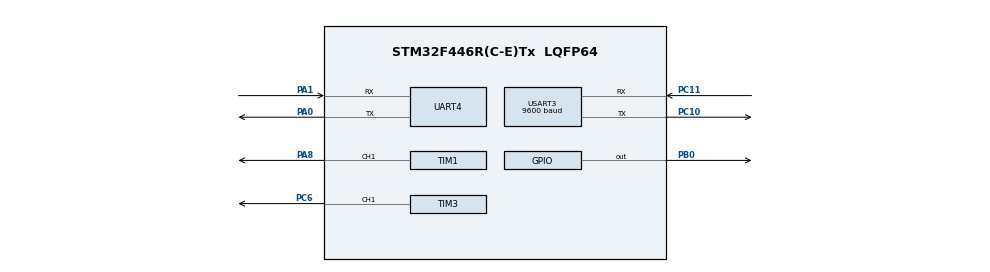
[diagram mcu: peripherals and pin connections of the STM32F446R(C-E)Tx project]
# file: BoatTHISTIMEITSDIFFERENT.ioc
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Mcu.Family=STM32F4
Mcu.Name=STM32F446R(C-E)Tx
Mcu.Package=LQFP64
NVIC.PriorityGroup=NVIC_PRIORITYGROUP_4
NVIC.UART4_IRQn=true\:0\:0\:false\:false\:true\:true\:true\:true
PA0-WKUP.Mode=Asynchronous
PA0-WKUP.Signal=UART4_TX
PA1.Mode=Asynchronous
PA1.Signal=UART4_RX
PA13.Mode=JTAG_4_pins
PA13.Signal=SYS_JTMS-SWDIO
PA14.Mode=JTAG_4_pins
PA14.Signal=SYS_JTCK-SWCLK
PA15.Mode=JTAG_4_pins
PA15.Signal=SYS_JTDI
PA8.Signal=S_TIM1_CH1
PB0.Signal=GPIO_Output
PB3.Mode=JTAG_4_pins
PB3.Signal=SYS_JTDO-SWO
PC10.Mode=Asynchronous
PC10.Signal=USART3_TX
PC11.Mode=Asynchronous
PC11.Signal=USART3_RX
PC6.Signal=S_TIM3_CH1
ProjectManager.HeapSize=0x400
ProjectManager.StackSize=0x800
ProjectManager.TargetToolchain=STM32CubeIDE
RCC.CortexFreq_Value=16000000
RCC.USBFreq_Value=96000000
RCC.VCOOutputFreq_Value=192000000
SH.S_TIM1_CH1.0=TIM1_CH1,PWM Generation1 CH1
SH.S_TIM3_CH1.0=TIM3_CH1,PWM Generation1 CH1
TIM1.AutoReloadPreload=TIM_AUTORELOAD_PRELOAD_ENABLE
TIM1.Channel-PWM\ Generation1\ CH1=TIM_CHANNEL_1
TIM1.Period=19999
TIM1.Prescaler=15
TIM1.Pulse-PWM\ Generation1\ CH1=1500
TIM3.AutoReloadPreload=TIM_AUTORELOAD_PRELOAD_ENABLE
TIM3.Channel-PWM\ Generation1\ CH1=TIM_CHANNEL_1
TIM3.Period=19999
TIM3.Prescaler=15
TIM3.Pulse-PWM\ Generation1\ CH1=1500
UART4.VirtualMode=Asynchronous
USART3.BaudRate=9600
USART3.VirtualMode=VM_ASYNC
board=custom

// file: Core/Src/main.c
/* USER CODE BEGIN Header */
/**
  ******************************************************************************
  * @file           : main.c
  * @brief          : Main program body (Boat board – STM32F446RET: LoRa + GPS)
  ******************************************************************************
  * Peripherals (actual, based on testing):
  *   TIM1_CH1 (PA8)      -> Rudder servo PWM
  *   TIM3_CH1 (PC6)      -> Motor / Fans PWM
  *   PB0                 -> Debug LED / probe
  *
  *   UART4  (PA0 TX,  PA1 RX)   -> LoRa  @115200 (RYLR module)
  *   USART3(PC10 TX, PC11 RX)   -> GPS / DEBUG @9600
  *
  * BOARD WIRING NOTE (V1 as fabricated, verified from the v5 fab Gerbers +
  * pstxnet.dat, 2026-09-16 - see docs/V1_DESIGN_REVIEW.md, docs/img/v1_evidence_pwm.png):
  *   PA8 / TIM1_CH1 is routed to header refdes SPEEDCONTROLLER pin 2
  *   PC6 / TIM3_CH1 is routed to header refdes STEERINGSERVO  pin 2
  *   i.e. the copper is the mirror of the names used in this file: with this
  *   firmware the ESC must be plugged into the header STEERINGSERVO and the
  *   rudder servo into the header SPEEDCONTROLLER.  Do not "fix" the
  *   firmware without also re-labelling the harness; V2 renames the nets by MCU
  *   pin (PWM_PA8_ESCHDR / PWM_PC6_SERVOHDR).
  *   PB0 is wired to GPSMODULE pin 3 and is held LOW by this firmware.
  *   Other board facts that matter here: no HSE/LSE crystal (HSI only), VBAT and
  *   BOOT0 pins are unconnected, CAN transceiver RXD is on PA10 (no CAN AF).
  *
  * Behavior:
  *   - PWM:
  *       Motor:  TIM3_CH1 / PC6, 50 Hz, 1000–2000 µs
  *       Rudder: TIM1_CH1 / PA8, 50 Hz, 1100–1900 µs (center ~1500)
  *
  *   - LoRa:
  *       AT startup:
  *         ATE0
  *         AT+ADDRESS=1        (BOAT)
  *         AT+NETWORKID=18
  *         AT+BAND=915000000
  *         AT+PARAMETER=12,7,1,4
  *
  *       Incoming lines (from +RCV=...):
  *         THRUST,<0–100>
  *         RUDDER,<0–100>   (0=left, 50=center, 100=right)
  *         GPS,<lat>,<lon>  (from other node, just printed)
  *
  *   - GPS:
  *       Parse $GPRMC / $GNRMC to gps_lat/gps_lon/gps_valid.
  *       Every 5s (if valid): send "GPS,<lat>,<lon>" via LoRa AT+SEND
  *       to RC node address 2.
  ******************************************************************************
  */
/* USER CODE END Header */

#include "main.h"

/* USER CODE BEGIN Includes */
#include <string.h>
#include <stdio.h>
#include <stdlib.h>
/* USER CODE END Includes */

/* USER CODE BEGIN PD */

/* GPS / LoRa line buffers */
#define GPS_BUF_LEN    128
#define LORA_BUF_LEN   128

/* LoRa addressing – must match RC firmware */
#define LORA_ADDR_RC    2   /* Remote: RC handset (L072) */
#define LORA_ADDR_BOAT  1   /* This boat node (F446) */
#define LORA_NET_ID    18
#define LORA_FREQ      915000000UL
#define LORA_PARAM_STR "12,7,1,4"

/* Motor PWM (PC6 – TIM3_CH1) */
#define PWM_MOTOR_MIN_US     1000U   /* ESC min / idle */
#define PWM_MOTOR_MAX_US     2000U
#define PWM_MOTOR_IDLE_US    PWM_MOTOR_MIN_US

/* Rudder PWM (PA8 – TIM1_CH1) */
#define PWM_RUDDER_CENTER_US 1500U
#define PWM_RUDDER_LEFT_US   1100U   /* tune if needed */
#define PWM_RUDDER_RIGHT_US  1900U

/* USER CODE END PD */

TIM_HandleTypeDef htim1;
TIM_HandleTypeDef htim3;

UART_HandleTypeDef huart4;   // LoRa
UART_HandleTypeDef huart3;   // GPS / debug

/* USER CODE BEGIN PV */

/* GPS RX state */
static uint8_t gps_rx_byte;
static char    gps_buf[GPS_BUF_LEN];
static volatile size_t gps_len   = 0;
static volatile uint8_t gps_ready = 0;

/* LoRa RX state */
static uint8_t lora_rx_byte;
static char    lora_buf[LORA_BUF_LEN];
static volatile size_t lora_len   = 0;
static volatile uint8_t lora_ready = 0;

/* Parsed GPS data */
float   gps_lat   = 0.0f;
float   gps_lon   = 0.0f;
uint8_t gps_valid = 0;

/* Last time we sent GPS over LoRa */
uint32_t last_lora_tx = 0;

/* Motor / rudder logical values */
uint8_t thrust_value = 0;   // 0..100 (0 = stop, 100 = full)
uint8_t rudder_value = 50;  // 0..100 (0=left, 50=center, 100=right)

/* USER CODE END PV */

void SystemClock_Config(void);
static void MX_GPIO_Init(void);
static void MX_UART4_Init(void);
static void MX_USART3_UART_Init(void);
static void MX_TIM1_Init(void);
static void MX_TIM3_Init(void);
/* USER CODE BEGIN PFP */
/* Debug helper */
static void dbg(const char *s);

/* High-level helpers */
static void set_thrust(uint8_t value);
static void set_rudder(uint8_t value);

/* UART IT helpers */
static void StartGPSRxIT(void);
static void StartLoRaRxIT(void);

/* LoRa helpers */
static void lora_send_line(const char* s);
static void lora_send_payload(const char* payload);
static void parse_lora_line(char* s);

/* GPS helpers */
static int  gps_ddmm_to_deg(const char* val, const char* hemi, float* out);
static int  gps_validate_checksum(const char* s);
static void gps_parse_rmc(char* line);
static void gps_task(void);
/* USER CODE END PFP */

/* USER CODE BEGIN 0 */

static void dbg(const char *s)
{
  if (!s) return;
  /* Use finite timeout so a broken UART doesn't hard-lock */
  HAL_UART_Transmit(&huart3, (uint8_t*)s, strlen(s), 100);
}

/* Start interrupt receive for both UARTs */
static void StartGPSRxIT(void)
{
  HAL_UART_Receive_IT(&huart3, &gps_rx_byte, 1);
}

static void StartLoRaRxIT(void)
{
  HAL_UART_Receive_IT(&huart4, &lora_rx_byte, 1);
}

/* Simple AT line sender (adds \r\n) */
static void lora_send_line(const char* s)
{
  if (!s) return;

  /* Finite timeouts here too */
  HAL_UART_Transmit(&huart4, (uint8_t*)s, strlen(s), 100);
  uint8_t crlf[2] = { '\r', '\n' };
  HAL_UART_Transmit(&huart4, crlf, 2, 100);
}

/* AT+SEND payload helper:
 *  - Boat node address  = LORA_ADDR_BOAT (1)
 *  - RC handset address = LORA_ADDR_RC   (2)
 *  We send GPS/etc *to the RC*, so destination = LORA_ADDR_RC.
 */
static void lora_send_payload(const char* payload)
{
  if (!payload) return;
  char cmd[128];
  snprintf(cmd, sizeof(cmd),
           "AT+SEND=%d,%u,%s",
           LORA_ADDR_RC,           /* send TO RC (2) */
           (unsigned)strlen(payload),
           payload);
  lora_send_line(cmd);
}

/* Convert ddmm.mmmm -> decimal degrees */
static int gps_ddmm_to_deg(const char* val, const char* hemi, float* out)
{
  if (!val || !*val || !out) return 0;
  double v       = atof(val);
  int    deg     = (int)(v / 100);
  double minutes = v - (deg * 100.0);
  double result  = deg + minutes / 60.0;
  if (hemi && (*hemi == 'S' || *hemi == 'W')) result = -result;
  *out = (float)result;
  return 1;
}

/* Validate NMEA checksum */
static int gps_validate_checksum(const char* s)
{
  if (!s || s[0] != '$') return 0;
  const char* star = strrchr(s, '*');
  if (!star) return 0;

  uint8_t chk = 0;
  for (const char* p = s + 1; p < star; p++)
  {
    chk ^= (uint8_t)(*p);
  }
  uint8_t given = (uint8_t)strtol(star + 1, NULL, 16);
  return (chk == given);
}

/* Parse an RMC line (in-place strtok) */
static void gps_parse_rmc(char* line)
{
  if (!gps_validate_checksum(line)) return;

  char* toks[16];
  int   n = 0;

  for (char* tok = strtok(line, ","); tok && n < 16; tok = strtok(NULL, ","))
  {
    toks[n++] = tok;
  }
  if (n < 7) return;

  if (strncmp(toks[0], "$GPRMC", 6) != 0 &&
      strncmp(toks[0], "$GNRMC", 6) != 0)
  {
    return;
  }

  /* Status: A = active, V = void */
  if (toks[2][0] != 'A')
  {
    gps_valid = 0;
    return;
  }

  float lat, lon;
  if (!gps_ddmm_to_deg(toks[3], toks[4], &lat)) return;
  if (!gps_ddmm_to_deg(toks[5], toks[6], &lon)) return;

  gps_lat   = lat;
  gps_lon   = lon;
  gps_valid = 1;
}

/* GPS processing task (call from main loop) */
static void gps_task(void)
{
  if (!gps_ready) return;
  gps_ready = 0;

  char buf[GPS_BUF_LEN];
  strncpy(buf, gps_buf, sizeof(buf));
  buf[GPS_BUF_LEN - 1] = '\0';

  if (strncmp(buf, "$GPRMC", 6) == 0 || strncmp(buf, "$GNRMC", 6) == 0)
  {
    gps_parse_rmc(buf);
  }
}

/* Parse one LoRa line from RYLR ("+RCV=...") */
static void parse_lora_line(char* s)
{
  if (!s) return;

  /* Skip leading CR/LF/spaces so "\r+RCV=..." still matches */
  while (*s == '\r' || *s == '\n' || *s == ' ' || *s == '\t')
  {
    s++;
  }

  if (*s == '\0') return;

  /* Expect lines like:
   *   +RCV=1,10,THRUST,50,-50,12
   *   +RCV=1,10,RUDDER,30,-70,11
   */
  if (strncmp(s, "+RCV=", 5) != 0 && strncmp(s, "RCV=", 4) != 0)
  {
    return;
  }

  /* Skip header up to second comma, then data starts */
  char* p = s;
  int   comma_count = 0;
  while (*p && comma_count < 2)
  {
    if (*p == ',') comma_count++;
    p++;
  }
  if (comma_count < 2) return;  // malformed
  char* data = p;               // points at payload: "THRUST,50,..."

  /* Normalize: strip trailing \r or \n */
  char* end = data + strlen(data);
  while (end > data && (end[-1] == '\r' || end[-1] == '\n'))
  {
    *--end = '\0';
  }

  /* Commands:
   *  THRUST,<0-100>
   *  RUDDER,<0-100>
   *  GPS,<lat>,<lon>
   */

  if (strncmp(data, "THRUST,", 7) == 0)
  {
    int value;
    if (sscanf(data, "THRUST,%d", &value) == 1)
    {
      if (value < 0)   value = 0;
      if (value > 100) value = 100;
      thrust_value = (uint8_t)value;
      set_thrust(thrust_value);

      char dbg_buf[64];
      snprintf(dbg_buf, sizeof(dbg_buf), "LoRa: THRUST=%d\r\n", value);
      dbg(dbg_buf);
    }
  }
  else if (strncmp(data, "RUDDER,", 7) == 0)
  {
    int value;
    if (sscanf(data, "RUDDER,%d", &value) == 1)
    {
      if (value < 0)   value = 0;
      if (value > 100) value = 100;
      rudder_value = (uint8_t)value;
      set_rudder(rudder_value);

      char dbg_buf[64];
      snprintf(dbg_buf, sizeof(dbg_buf), "LoRa: RUDDER=%d\r\n", value);
      dbg(dbg_buf);
    }
  }
  else if (strncmp(data, "GPS,", 4) == 0)
  {
    float lat, lon;
    if (sscanf(data, "GPS,%f,%f", &lat, &lon) == 2)
    {
      char dbg_buf[80];
      snprintf(dbg_buf, sizeof(dbg_buf),
               "LoRa: GPS from RC: %.6f, %.6f\r\n", lat, lon);
      dbg(dbg_buf);
    }
  }
}

/* Set motor thrust (0..100) → TIM3_CH1 / PC6 */
static void set_thrust(uint8_t value)
{
  if (value > 100) value = 100;

  uint32_t range = (PWM_MOTOR_MAX_US - PWM_MOTOR_MIN_US); // 1000
  uint32_t pulse = PWM_MOTOR_MIN_US + (range * value) / 100U;

  __HAL_TIM_SET_COMPARE(&htim3, TIM_CHANNEL_1, pulse);
  thrust_value = value;
}

/* Set rudder (0..100) → TIM1_CH1 / PA8
 * 0   = fully left  (PWM_RUDDER_LEFT_US)
 * 50  = center      (PWM_RUDDER_CENTER_US)
 * 100 = fully right (PWM_RUDDER_RIGHT_US)
 */
static void set_rudder(uint8_t value)
{
  if (value > 100) value = 100;

  uint32_t range = (PWM_RUDDER_RIGHT_US - PWM_RUDDER_LEFT_US);
  uint32_t pulse = PWM_RUDDER_LEFT_US + (range * value) / 100U;

  __HAL_TIM_SET_COMPARE(&htim1, TIM_CHANNEL_1, pulse);
  rudder_value = value;
}

/* USER CODE END 0 */

int main(void)
{
  /* MCU Configuration--------------------------------------------------------*/

  /* Reset of all peripherals, Initializes the Flash interface and the Systick. */
  HAL_Init();   // sets up uwTick, SysTick, HAL_Delay, etc.

  /* Configure the system clock */
  SystemClock_Config();

  /* Initialize all configured peripherals */
  MX_GPIO_Init();
  MX_UART4_Init();
  MX_USART3_UART_Init();
  MX_TIM1_Init();
  MX_TIM3_Init();

  /* NVIC setup for UART interrupts (must match stm32f4xx_it.c IRQHandlers) */
  HAL_NVIC_SetPriority(UART4_IRQn, 5, 0);
  HAL_NVIC_EnableIRQ(UART4_IRQn);

  HAL_NVIC_SetPriority(USART3_IRQn, 5, 0);
  HAL_NVIC_EnableIRQ(USART3_IRQn);

  /* Start PWM on both channels */
  if (HAL_TIM_PWM_Start(&htim1, TIM_CHANNEL_1) != HAL_OK) { Error_Handler(); }
  if (HAL_TIM_PWM_Start(&htim3, TIM_CHANNEL_1) != HAL_OK) { Error_Handler(); }

  /* Safe startup: motor idle, rudder centered */
  set_thrust(0);
  set_rudder(50);

  /* Let ESC/servo/LoRa/GPS power up */
  HAL_Delay(1500);

  /* Start UART reception in interrupt mode */
  StartGPSRxIT();
  StartLoRaRxIT();

  /* Configure LoRa module via AT commands */
  lora_send_line("ATE0");                        // Echo off
  lora_send_line("AT+ADDRESS=1");                // This node address (boat)
  lora_send_line("AT+NETWORKID=18");             // Network ID
  lora_send_line("AT+BAND=915000000");           // 915 MHz
  lora_send_line("AT+PARAMETER=" LORA_PARAM_STR);// SF12, BW index 7 = 125 kHz (not 7.8 kHz), CR4/5, preamble 4. NOTE: an RYLR998 rejects SF12 (SF5-11 only) and keeps its stored settings; only the RYLR896 accepts SF12.

  dbg("Boat: LoRa init done\r\n");

  /* Infinite loop */
  while (1)
  {
    /* Handle GPS parsing */
    gps_task();

    /* Process any complete LoRa line */
    if (lora_ready)
    {
      lora_ready = 0;
      char buf_local[LORA_BUF_LEN];
      strncpy(buf_local, lora_buf, sizeof(buf_local));
      buf_local[LORA_BUF_LEN - 1] = '\0';

      dbg("LORA RX: ");
      dbg(buf_local);
      dbg("\r\n");

      parse_lora_line(buf_local);
    }

    uint32_t now = HAL_GetTick();

    /* Send *our* GPS over LoRa every 5 seconds if valid */
    if (gps_valid && (now - last_lora_tx >= 5000U))
    {
      char payload[64];
      snprintf(payload, sizeof(payload), "GPS,%.6f,%.6f", gps_lat, gps_lon);
      lora_send_payload(payload);
      last_lora_tx = now;
    }

    HAL_Delay(10);
  }
}

void SystemClock_Config(void)
{
  RCC_OscInitTypeDef RCC_OscInitStruct = {0};
  RCC_ClkInitTypeDef RCC_ClkInitStruct = {0};

  /** Configure the main internal regulator output voltage */
  __HAL_RCC_PWR_CLK_ENABLE();
  __HAL_PWR_VOLTAGESCALING_CONFIG(PWR_REGULATOR_VOLTAGE_SCALE3);

  /** Initializes the RCC Oscillators according to the specified parameters */
  RCC_OscInitStruct.OscillatorType      = RCC_OSCILLATORTYPE_HSI;
  RCC_OscInitStruct.HSIState            = RCC_HSI_ON;
  RCC_OscInitStruct.HSICalibrationValue = RCC_HSICALIBRATION_DEFAULT;
  RCC_OscInitStruct.PLL.PLLState        = RCC_PLL_NONE;
  if (HAL_RCC_OscConfig(&RCC_OscInitStruct) != HAL_OK)
  {
    Error_Handler();
  }

  /** Initializes the CPU, AHB and APB buses clocks */
  RCC_ClkInitStruct.ClockType      = RCC_CLOCKTYPE_HCLK
                                   | RCC_CLOCKTYPE_SYSCLK
                                   | RCC_CLOCKTYPE_PCLK1
                                   | RCC_CLOCKTYPE_PCLK2;
  RCC_ClkInitStruct.SYSCLKSource   = RCC_SYSCLKSOURCE_HSI;
  RCC_ClkInitStruct.AHBCLKDivider  = RCC_SYSCLK_DIV1;
  RCC_ClkInitStruct.APB1CLKDivider = RCC_HCLK_DIV1;
  RCC_ClkInitStruct.APB2CLKDivider = RCC_HCLK_DIV1;

  if (HAL_RCC_ClockConfig(&RCC_ClkInitStruct, FLASH_LATENCY_0) != HAL_OK)
  {
    Error_Handler();
  }
}

static void MX_TIM1_Init(void)
{
  TIM_MasterConfigTypeDef sMasterConfig = {0};
  TIM_OC_InitTypeDef      sConfigOC     = {0};
  TIM_BreakDeadTimeConfigTypeDef sBreakDeadTimeConfig = {0};

  htim1.Instance               = TIM1;
  htim1.Init.Prescaler         = 15;
  htim1.Init.CounterMode       = TIM_COUNTERMODE_UP;
  htim1.Init.Period            = 19999;
  htim1.Init.ClockDivision     = TIM_CLOCKDIVISION_DIV1;
  htim1.Init.RepetitionCounter = 0;
  htim1.Init.AutoReloadPreload = TIM_AUTORELOAD_PRELOAD_ENABLE;
  if (HAL_TIM_PWM_Init(&htim1) != HAL_OK)
  {
    Error_Handler();
  }
  sMasterConfig.MasterOutputTrigger = TIM_TRGO_RESET;
  sMasterConfig.MasterSlaveMode     = TIM_MASTERSLAVEMODE_DISABLE;
  if (HAL_TIMEx_MasterConfigSynchronization(&htim1, &sMasterConfig) != HAL_OK)
  {
    Error_Handler();
  }
  sConfigOC.OCMode       = TIM_OCMODE_PWM1;
  sConfigOC.Pulse        = PWM_RUDDER_CENTER_US;
  sConfigOC.OCPolarity   = TIM_OCPOLARITY_HIGH;
  sConfigOC.OCNPolarity  = TIM_OCNPOLARITY_HIGH;
  sConfigOC.OCFastMode   = TIM_OCFAST_DISABLE;
  sConfigOC.OCIdleState  = TIM_OCIDLESTATE_RESET;
  sConfigOC.OCNIdleState = TIM_OCNIDLESTATE_RESET;
  if (HAL_TIM_PWM_ConfigChannel(&htim1, &sConfigOC, TIM_CHANNEL_1) != HAL_OK)
  {
    Error_Handler();
  }
  sBreakDeadTimeConfig.OffStateRunMode  = TIM_OSSR_DISABLE;
  sBreakDeadTimeConfig.OffStateIDLEMode = TIM_OSSI_DISABLE;
  sBreakDeadTimeConfig.LockLevel        = TIM_LOCKLEVEL_OFF;
  sBreakDeadTimeConfig.DeadTime         = 0;
  sBreakDeadTimeConfig.BreakState       = TIM_BREAK_DISABLE;
  sBreakDeadTimeConfig.BreakPolarity    = TIM_BREAKPOLARITY_HIGH;
  sBreakDeadTimeConfig.AutomaticOutput  = TIM_AUTOMATICOUTPUT_DISABLE;
  if (HAL_TIMEx_ConfigBreakDeadTime(&htim1, &sBreakDeadTimeConfig) != HAL_OK)
  {
    Error_Handler();
  }
  HAL_TIM_MspPostInit(&htim1);
}

static void MX_TIM3_Init(void)
{
  TIM_MasterConfigTypeDef sMasterConfig = {0};
  TIM_OC_InitTypeDef      sConfigOC     = {0};

  htim3.Instance               = TIM3;
  htim3.Init.Prescaler         = 15;
  htim3.Init.CounterMode       = TIM_COUNTERMODE_UP;
  htim3.Init.Period            = 19999;
  htim3.Init.ClockDivision     = TIM_CLOCKDIVISION_DIV1;
  htim3.Init.AutoReloadPreload = TIM_AUTORELOAD_PRELOAD_ENABLE;
  if (HAL_TIM_PWM_Init(&htim3) != HAL_OK)
  {
    Error_Handler();
  }
  sMasterConfig.MasterOutputTrigger = TIM_TRGO_RESET;
  sMasterConfig.MasterSlaveMode     = TIM_MASTERSLAVEMODE_DISABLE;
  if (HAL_TIMEx_MasterConfigSynchronization(&htim3, &sMasterConfig) != HAL_OK)
  {
    Error_Handler();
  }
  sConfigOC.OCMode     = TIM_OCMODE_PWM1;
  sConfigOC.Pulse      = PWM_MOTOR_IDLE_US;
  sConfigOC.OCPolarity = TIM_OCPOLARITY_HIGH;
  sConfigOC.OCFastMode = TIM_OCFAST_DISABLE;
  if (HAL_TIM_PWM_ConfigChannel(&htim3, &sConfigOC, TIM_CHANNEL_1) != HAL_OK)
  {
    Error_Handler();
  }
  HAL_TIM_MspPostInit(&htim3);
}

static void MX_UART4_Init(void)
{
  huart4.Instance        = UART4;
  huart4.Init.BaudRate   = 115200;
  huart4.Init.WordLength = UART_WORDLENGTH_8B;
  huart4.Init.StopBits   = UART_STOPBITS_1;
  huart4.Init.Parity     = UART_PARITY_NONE;
  huart4.Init.Mode       = UART_MODE_TX_RX;
  huart4.Init.HwFlowCtl  = UART_HWCONTROL_NONE;
  huart4.Init.OverSampling = UART_OVERSAMPLING_16;
  if (HAL_UART_Init(&huart4) != HAL_OK)
  {
    Error_Handler();
  }
}

static void MX_USART3_UART_Init(void)
{
  huart3.Instance        = USART3;
  huart3.Init.BaudRate   = 9600;
  huart3.Init.WordLength = UART_WORDLENGTH_8B;
  huart3.Init.StopBits   = UART_STOPBITS_1;
  huart3.Init.Parity     = UART_PARITY_NONE;
  huart3.Init.Mode       = UART_MODE_TX_RX;
  huart3.Init.HwFlowCtl  = UART_HWCONTROL_NONE;
  huart3.Init.OverSampling = UART_OVERSAMPLING_16;
  if (HAL_UART_Init(&huart3) != HAL_OK)
  {
    Error_Handler();
  }
}

static void MX_GPIO_Init(void)
{
  GPIO_InitTypeDef GPIO_InitStruct = {0};

  /* GPIO Ports Clock Enable */
  __HAL_RCC_GPIOA_CLK_ENABLE();
  __HAL_RCC_GPIOB_CLK_ENABLE();
  __HAL_RCC_GPIOC_CLK_ENABLE();

  /*Configure GPIO pin Output Level */
  HAL_GPIO_WritePin(GPIOB, GPIO_PIN_0, GPIO_PIN_RESET);

  /*Configure GPIO pin : PB0 (debug LED / probe) */
  GPIO_InitStruct.Pin   = GPIO_PIN_0;
  GPIO_InitStruct.Mode  = GPIO_MODE_OUTPUT_PP;
  GPIO_InitStruct.Pull  = GPIO_NOPULL;
  GPIO_InitStruct.Speed = GPIO_SPEED_FREQ_LOW;
  HAL_GPIO_Init(GPIOB, &GPIO_InitStruct);
}

/* USER CODE BEGIN 4 */

/* UART receive complete callback (called from IRQs via HAL_UART_IRQHandler) */
void HAL_UART_RxCpltCallback(UART_HandleTypeDef *huart)
{
  if (huart->Instance == USART3)  /* GPS */
  {
    char c = (char)gps_rx_byte;

    if (c == '\n')
    {
      gps_buf[gps_len] = '\0';
      gps_ready = 1;
      gps_len = 0;
    }
    else
    {
      if (gps_len < (GPS_BUF_LEN - 1))
      {
        gps_buf[gps_len++] = c;
      }
    }
    StartGPSRxIT();
  }
  else if (huart->Instance == UART4)  /* LoRa */
  {
    char c = (char)lora_rx_byte;

    if (c == '\n')
    {
      lora_buf[lora_len] = '\0';
      lora_ready = 1;
      lora_len = 0;
    }
    else
    {
      if (lora_len < (LORA_BUF_LEN - 1))
      {
        lora_buf[lora_len++] = c;
      }
    }
    StartLoRaRxIT();
  }
}

/* USER CODE END 4 */

void Error_Handler(void)
{
  __disable_irq();
  while (1)
  {
  }
}
